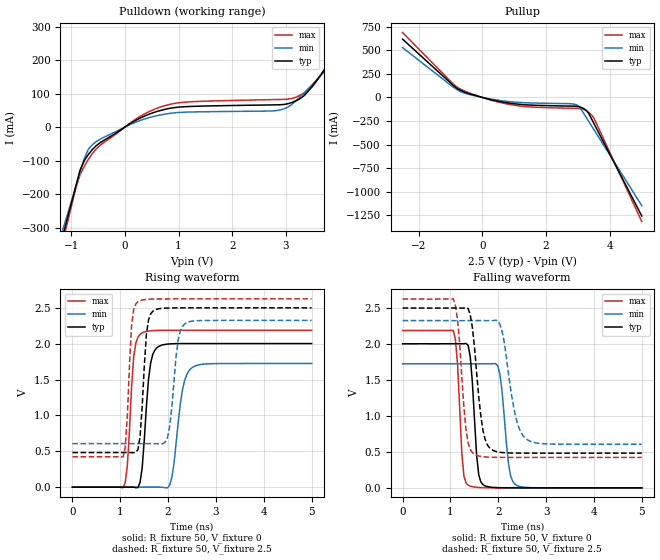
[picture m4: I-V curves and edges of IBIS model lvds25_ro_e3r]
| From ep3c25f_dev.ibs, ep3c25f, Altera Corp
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[Model] lvds25_ro_e3r
Model_type Output
Polarity   Non-Inverting
Enable   Active-Low
Rref_diff = 100
Vmeas = 1.1625V
Rref  = 25
Cref  = 0pF
Vref  = 1.25
C_comp  5.0pF  5.0pF  5.0pF
|For timing test load parameters, please refer to
|Output Timing Measurement Methodology for Output pins table in
|CIII Device Datasheet: DC & Switching Characteristics Chapter.
[Temperature Range] 25   85   0
[Voltage Range]   2.5   2.325   2.625
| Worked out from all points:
|   slope of the pulldown table from 0 to 0.375 V, typ, clamps not added: 11.2 ohm
|   slope of the pullup table from 0 to 0.375 V, typ, clamps not added: 11.9 ohm
|   rising waveform, R_fixture 50, V_fixture 0: 20-80 % time 137ps typ, 183ps min, 113ps max; typ from 0 V to 2 V
|   falling waveform, R_fixture 50, V_fixture 0: 20-80 % time 114ps typ, 139ps min, 100ps max; typ from 2 V to 0 V
|   rising waveform, R_fixture 50, V_fixture 2.5: 20-80 % time 110ps typ, 147ps min, 95.7ps max; typ from 0.482 V to 2.5 V
|   falling waveform, R_fixture 50, V_fixture 2.5: 20-80 % time 181ps typ, 246ps min, 149ps max; typ from 2.5 V to 0.482 V
[Pulldown]
| voltage   I (typ)   I (min)   I (max)
-2.5V     -1.151A    -1.02A     -1.218A
-1.136V   -313mA     -296.1mA   -328.3mA
-1.061V   -266.5mA   -255.8mA   -278.9mA
-833.3mV  -127.7mA   -135.1mA   -141.8mA
-681.8mV  -81.97mA   -66.61mA   -96.63mA
378.8mV   33.78mA    24.72mA    40.47mA
1.061V    60.24mA    44.07mA    73.56mA
2.954V    67.25mA    53.88mA    82.63mA
3.485V    121.1mA    126.4mA    119.4mA
4.242V    284.4mA    256.9mA    307.1mA
4.47V     332.7mA    296.8mA    363.2mA
5V        442.8mA    390.5mA    488.6mA
[Pullup]
| voltage   I (typ)   I (min)   I (max)
-2.5V     617.8mA    528mA      687.6mA
-909.1mV  126.9mA    109.3mA    141mA
-530.3mV  54.01mA    42.56mA    63.45mA
303mV     -26.11mA   -19.42mA   -31.65mA
984.9mV   -66.23mA   -48.35mA   -81.58mA
2.879V    -92.7mA    -71.75mA   -115.5mA
3.03V     -97.84mA   -94.78mA   -117mA
3.182V    -118.8mA   -171.1mA   -127.7mA
3.333V    -168mA     -252.5mA   -157.4mA
3.485V    -266.8mA   -333.9mA   -211.3mA
3.561V    -316.3mA   -374.6mA   -263.4mA
5V        -1.257A    -1.148A    -1.316A
[Ramp]
dV/dt_r   1.201e+000/1.367e-010  1.034e+000/1.831e-010  1.312e+000/1.135e-010
dV/dt_f   1.211e+000/1.808e-010  1.031e+000/2.455e-010  1.321e+000/1.486e-010
R_load = 50ohms
[Rising Waveform]
R_fixture   = 50
V_fixture   = 0
V_fixture_min = 0
V_fixture_max = 0
| time   V (typ)   V (min)   V (max)
0s        0V         0V         0V
1.06ns    115.6uV    -74.43uV   -10.02mV
1.149ns   32.15uV    -47.34uV   305.8mV
1.282ns   -989.8uV   -85.82uV   1.82V
1.459ns   271.7mV    -38.39uV   2.152V
1.592ns   1.509V     97.46uV    2.176V
1.769ns   1.945V     128.6uV    2.185V
2.035ns   1.997V     30.63mV    2.187V
2.478ns   2.002V     1.654V     2.187V
5ns       2.002V     1.724V     2.187V
[Falling Waveform]
R_fixture   = 50
V_fixture   = 0
V_fixture_min = 0
V_fixture_max = 0
| time   V (typ)   V (min)   V (max)
0s        2.002V     1.724V     2.187V
1.06ns    2.003V     1.724V     2.187V
1.149ns   2.003V     1.724V     1.717V
1.282ns   2.003V     1.724V     164.8mV
1.37ns    1.981V     1.724V     37.94mV
1.548ns   454mV      1.724V     7.575mV
1.68ns    44.69mV    1.724V     2.563mV
1.991ns   2.841mV    1.693V     217.8uV
2.345ns   173.2uV    53.37mV    13.5uV
5ns       0V         0V         778.1nV
[Rising Waveform]
R_fixture   = 50
V_fixture   = 2.5
V_fixture_min = 2.325
V_fixture_max = 2.625
| time   V (typ)   V (min)   V (max)
0s        482.3mV    606.4mV    423.1mV
1.06ns    482.4mV    606.2mV    423.2mV
1.237ns   481.7mV    606.3mV    2.263V
1.37ns    525mV      606.2mV    2.585V
1.548ns   2.136V     606.5mV    2.618V
1.68ns    2.452V     606.5mV    2.623V
1.991ns   2.497V     698.2mV    2.624V
2.212ns   2.499V     2.055V     2.625V
2.345ns   2.499V     2.274V     2.625V
5ns       2.5V       2.325V     2.625V
[Falling Waveform]
R_fixture   = 50
V_fixture   = 2.5
V_fixture_min = 2.325
V_fixture_max = 2.625
| time   V (typ)   V (min)   V (max)
0s        2.5V       2.325V     2.625V
1.06ns    2.5V       2.324V     2.627V
1.326ns   2.504V     2.324V     805.2mV
1.503ns   1.953V     2.325V     465.4mV
1.68ns    799.1mV    2.325V     432.5mV
1.858ns   533.7mV    2.324V     425.4mV
2.079ns   490.9mV    2.178V     423.5mV
2.345ns   483.4mV    1.046V     423.2mV
2.567ns   482.5mV    689.6mV    423.1mV
5ns       482.3mV    606.4mV    423.1mV
